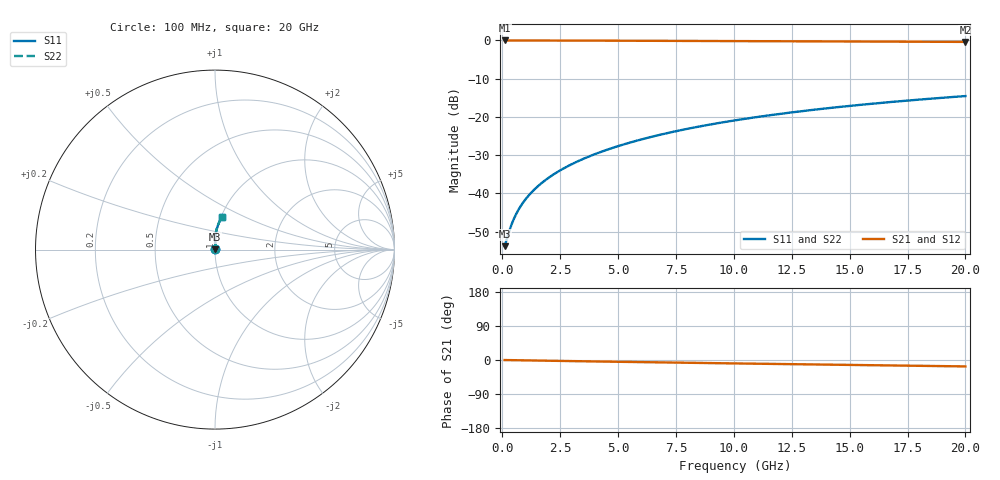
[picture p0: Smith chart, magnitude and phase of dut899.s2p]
! Touchstone file exported from HFSS 2024.1.0
!  File:  C:/UserFiles/LocalFiles/RDL_TSV_Batchsim/temp_RDL_top_899_1779857521.aedt
!  Generated:  12:54:18 PM May 27, 2026
!  Design:  RDL_top
!  Project:  temp_RDL_top_899_1779857521
!  Setup:  Setup1
!  Solution:  Sweep
! Variables:
!  dtsv = 10.80580581um
!  hbump = 3um
!  htsv = 57.46um
!  ldown = 100um
!  lrdl = 200.29um
!  p = 40
!  p1 = 51.11um
!  rhole = 1um
!  t = 450um
!  tdown = 3.915915916um
!  trdl = 2.04um
!  wdown = 15.38538539um
!  wrdl = 24.8um
# GHz S MA R 50.000000
! Terminal data exported
! Port[1] = Box2_T1
! Port[2] = Box2_T2
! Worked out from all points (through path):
!   200 points, 100 MHz to 20 GHz, reference 50 ohm
!   highest |S21| = -0.02 dB at 100 MHz (marker M1); lowest = -0.4 dB at 20 GHz (marker M2)
!   group delay of S21, straight-line fit = 2.32 ps
!   lowest |S11| = -53.8 dB at 100 MHz (marker M3), VSWR 1.00, Z = 50.2 + j0.0871 ohm
!   |S11| at or under -10 dB: start of sweep to end of sweep
!   |S22| runs from -53.8 to -14.6 dB; largest |S21 - S12| = 2.9e-15
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0.1  0.002039 25.2  0.9981 -0.1  0.9981 -0.1  0.002039 25.2
! Gamma 0 0 0 0
! Port Impedance 50 0 50 0
0.3  0.003205 53.0  0.998 -0.3  0.998 -0.3  0.003205 53.0
0.4  0.003914 59.6  0.9979 -0.4  0.9979 -0.4  0.003914 59.6
0.6  0.005375 67.3  0.9978 -0.6  0.9978 -0.6  0.005375 67.3
0.7  0.006111 69.9  0.9977 -0.7  0.9977 -0.7  0.006111 69.9
0.9  0.007588 73.6  0.9975 -0.9  0.9975 -0.9  0.007588 73.6
1.2  0.00983 77.5  0.9972 -1.2  0.9972 -1.2  0.00983 77.5
1.4  0.01134 79.3  0.997 -1.4  0.997 -1.4  0.01134 79.3
1.7  0.01365 81.5  0.9967 -1.7  0.9967 -1.7  0.01365 81.5
2.2  0.01757 84.0  0.9961 -2.1  0.9961 -2.1  0.01757 84.0
2.8  0.02242 86.0  0.9952 -2.7  0.9952 -2.7  0.02242 86.0
3.5  0.02826 87.5  0.994 -3.4  0.994 -3.4  0.02826 87.5
4.2  0.03431 88.4  0.9926 -4.0  0.9926 -4.0  0.03431 88.4
5  0.04144 89.0  0.991 -4.7  0.991 -4.7  0.04144 89.0
5.9  0.04972 89.3  0.9889 -5.5  0.9889 -5.5  0.04972 89.3
6.8  0.05823 89.2  0.9869 -6.3  0.9869 -6.3  0.05823 89.2
8.4  0.07376 88.5  0.9831 -7.7  0.9831 -7.7  0.07376 88.5
10.1  0.09057 87.3  0.9791 -9.1  0.9791 -9.1  0.09057 87.3
11.7  0.1065 86.0  0.9754 -10.4  0.9754 -10.4  0.1065 85.9
13.4  0.1234 84.4  0.9714 -11.7  0.9714 -11.7  0.1234 84.4
16.7  0.1557 81.3  0.9637 -14.4  0.9637 -14.4  0.1557 81.3
20  0.1871 78.2  0.9558 -16.9  0.9558 -16.9  0.1871 78.2
